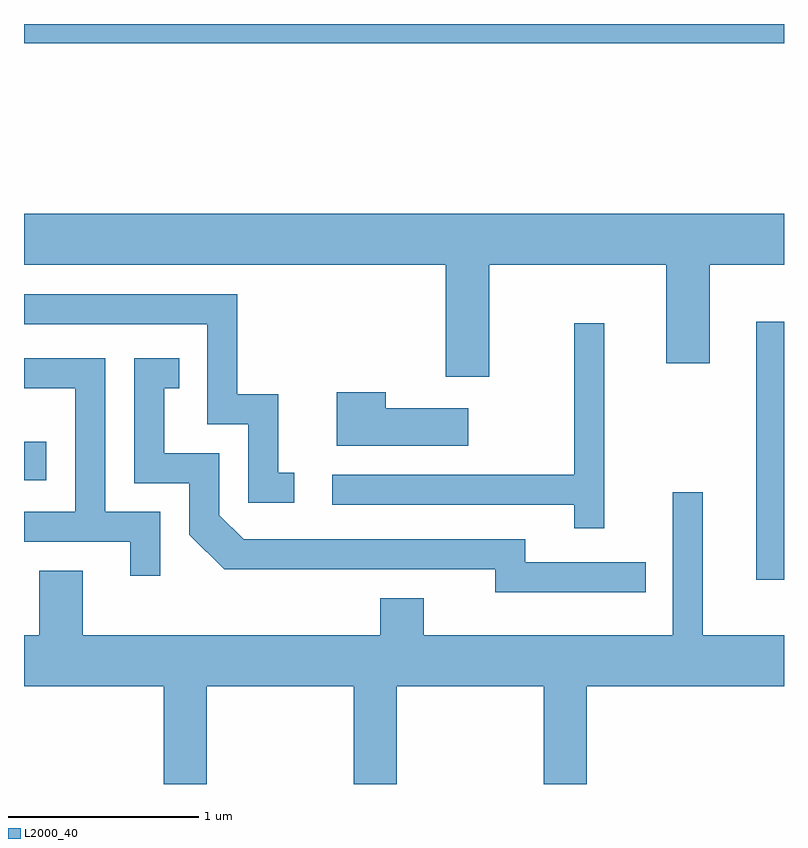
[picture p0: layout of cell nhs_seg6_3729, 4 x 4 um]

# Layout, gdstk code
import gdstk
lib = gdstk.Library(unit=1e-6, precision=1e-09)
def R(c, l, rs):  # rectangles x0, y0, x1, y1
    for r in rs: c.add(gdstk.rectangle(r[:2], r[2:], *l))
def P(c, l, *ps):  # polygons
    for p in ps: c.add(gdstk.Polygon(p, *l))
L2000_40 = (2000, 40)

nhs_seg6_3729 = lib.new_cell('nhs_seg6_3729')
R(nhs_seg6_3729, L2000_40, [(301.466,1577.236,301.611,1578.594), (297.611,1577.761,297.729,1577.964), (297.611,1580.061,301.611,1580.162)])
P(nhs_seg6_3729, L2000_40, [(300.059,1578.896),(300.991,1578.896),(300.991,1578.376),(301.219,1578.376),(301.219,1578.896),(301.611,1578.896),(301.611,1579.164),(297.611,1579.164),(297.611,1578.896),(299.831,1578.896),(299.831,1578.306),(300.059,1578.306)],
  [(299.033,1577.799),(298.949,1577.799),(298.949,1578.214),(298.734,1578.214),(298.734,1578.739),(297.611,1578.739),(297.611,1578.581),(298.576,1578.581),(298.576,1578.056),(298.791,1578.056),(298.791,1577.641),(299.033,1577.641)],
  [(300.664,1578.588),(300.506,1578.588),(300.506,1577.789),(299.233,1577.789),(299.233,1577.631),(300.506,1577.631),(300.506,1577.508),(300.664,1577.508)],
  [(298.329,1577.594),(298.039,1577.594),(298.039,1578.404),(297.611,1578.404),(297.611,1578.246),(297.881,1578.246),(297.881,1577.594),(297.611,1577.594),(297.611,1577.436),(298.171,1577.436),(298.171,1577.258),(298.329,1577.258)],
  [(300.883,1577.329),(300.249,1577.329),(300.249,1577.449),(298.767,1577.449),(298.639,1577.577),(298.639,1577.904),(298.349,1577.904),(298.349,1578.246),(298.428,1578.246),(298.428,1578.404),(298.191,1578.404),(298.191,1577.746),(298.481,1577.746),(298.481,1577.474),(298.664,1577.291),(300.091,1577.291),(300.091,1577.171),(300.883,1577.171)],
  [(299.949,1578.139),(299.514,1578.139),(299.514,1578.224),(299.256,1578.224),(299.256,1577.941),(299.949,1577.941)],
  [(298.574,1576.676),(299.346,1576.676),(299.346,1576.162),(299.574,1576.162),(299.574,1576.676),(300.346,1576.676),(300.346,1576.162),(300.574,1576.162),(300.574,1576.676),(301.611,1576.676),(301.611,1576.944),(301.184,1576.944),(301.184,1577.698),(301.026,1577.698),(301.026,1576.944),(299.714,1576.944),(299.714,1577.139),(299.486,1577.139),(299.486,1576.944),(297.919,1576.944),(297.919,1577.284),(297.691,1577.284),(297.691,1576.944),(297.611,1576.944),(297.611,1576.676),(298.346,1576.676),(298.346,1576.162),(298.574,1576.162)])

lib.write_gds('nhs_seg6_3729.gds')
